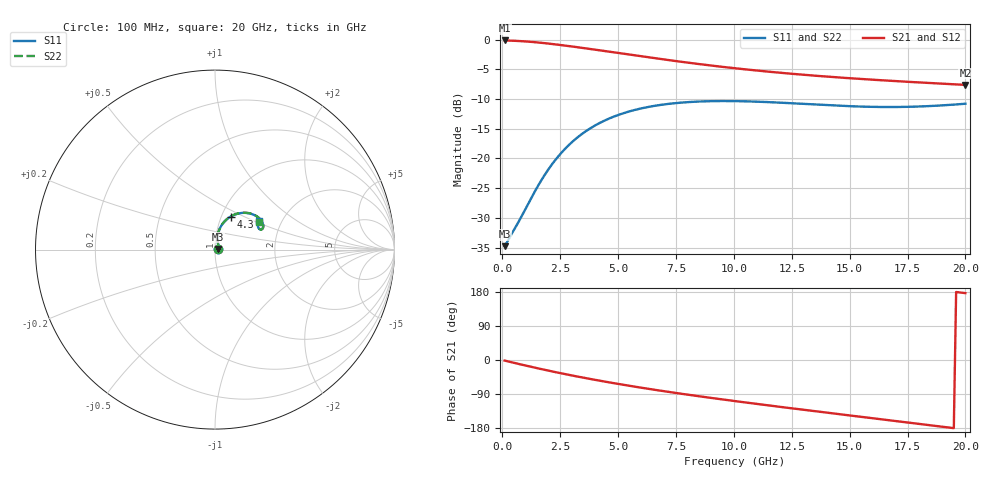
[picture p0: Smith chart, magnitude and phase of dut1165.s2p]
! Touchstone file exported from HFSS 2024.1.0
!  File:  C:/UserFiles/LocalFiles/RDL_TSV_Batchsim/temp_RDL_TSV_1165_1780121718.aedt
!  Generated:  02:28:04 PM May 30, 2026
!  Design:  RDL_TSV
!  Project:  temp_RDL_TSV_1165_1780121718
!  Setup:  Setup1
!  Solution:  Sweep
! Variables:
!  dtsv = 8.59um
!  hbump = 3um
!  htsv = 60.89um
!  ldown = 549.64um
!  lrdl = 268.21um
!  p = 40
!  p1 = 40.5um
!  rhole = 10um
!  subl = 2721.76um
!  t = 450um
!  tdown = 4.73um
!  trdl = 2.83um
!  viad = 10um
!  wdown = 20.49um
!  wrdl = 11.9um
!  xbump = 18um
# GHz S MA R 50.000000
! Terminal data exported
! Port[1] = TM1_1_T1
! Port[2] = TM1_4_T1
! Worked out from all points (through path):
!   200 points, 100 MHz to 20 GHz, reference 50 ohm
!   highest |S21| = -0.16 dB at 100 MHz (marker M1); lowest = -7.6 dB at 20 GHz (marker M2)
!   group delay of S21, straight-line fit = 24.2 ps
!   lowest |S11| = -34.7 dB at 100 MHz (marker M3), VSWR 1.04, Z = 51.8 + j0.392 ohm
!   |S11| at or under -10 dB: start of sweep to end of sweep
!   |S22| runs from -34.7 to -10.3 dB; largest |S21 - S12| = 1.7e-14
!   S11 on the Smith chart (normalised r, x): 100 MHz: 1.04, +0.01; 4.3 GHz: 1.10, +0.42; 20 GHz: 1.53, +0.52
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0.1  0.01832 11.9  0.9818 -1.5  0.9818 -1.5  0.01832 11.9
! Gamma 0 0 0 0
! Port Impedance 50 0 50 0
0.5  0.02503 41.8  0.976 -7.4  0.976 -7.4  0.02503 41.8
1  0.03759 64.0  0.9637 -14.6  0.9637 -14.6  0.03759 64.0
1.5  0.05695 75.2  0.9459 -21.5  0.9459 -21.5  0.05698 75.3
2  0.08151 78.7  0.9242 -28.2  0.9242 -28.2  0.08158 78.8
2.3  0.0977 78.7  0.9099 -32.1  0.9099 -32.1  0.0978 78.7
2.7  0.12 77.1  0.8899 -37.1  0.8899 -37.1  0.1201 77.2
3.1  0.1423 74.6  0.8692 -41.9  0.8692 -41.9  0.1425 74.7
3.5  0.1639 71.5  0.8482 -46.6  0.8482 -46.6  0.1641 71.6
4.3  0.2031 64.8  0.8063 -55.6  0.8063 -55.6  0.2034 64.8
4.9  0.2281 59.7  0.7757 -62.0  0.7757 -62.0  0.2285 59.7
5.5  0.2491 54.8  0.7461 -68.2  0.7461 -68.2  0.2496 54.9
6.8  0.2814 45.4  0.6871 -80.7  0.6871 -80.7  0.282 45.5
7.6  0.2934 40.5  0.6546 -87.9  0.6546 -87.9  0.2941 40.6
8.4  0.3005 36.2  0.6251 -94.9  0.6251 -94.9  0.3013 36.3
10.1  0.3034 29.3  0.5718 -108.9  0.5718 -108.9  0.3044 29.3
11.7  0.2965 25.3  0.532 -121.4  0.532 -121.4  0.2976 25.3
13.4  0.2849 23.5  0.4984 -134.3  0.4984 -134.3  0.2862 23.5
15  0.2752 24.1  0.4729 -146.3  0.4729 -146.3  0.2765 24.1
16.7  0.2707 26.7  0.4505 -158.9  0.4505 -158.9  0.272 26.5
18.3  0.2749 29.9  0.4325 -170.9  0.4325 -170.9  0.2761 29.6
20  0.2886 32.9  0.4156 176.4  0.4156 176.4  0.2896 32.6
